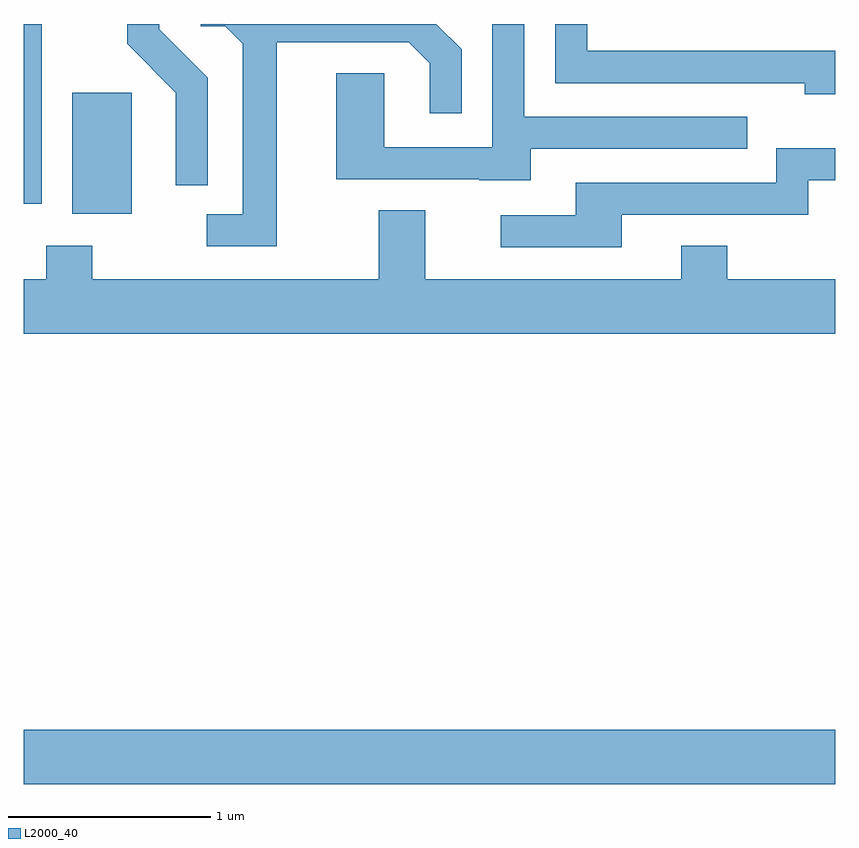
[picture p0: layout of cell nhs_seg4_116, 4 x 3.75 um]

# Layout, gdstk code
import gdstk
lib = gdstk.Library(unit=1e-6, precision=1e-09)
def R(c, l, rs):  # rectangles x0, y0, x1, y1
    for r in rs: c.add(gdstk.rectangle(r[:2], r[2:], *l))
def P(c, l, *ps):  # polygons
    for p in ps: c.add(gdstk.Polygon(p, *l))
L2000_40 = (2000, 40)

nhs_seg4_116 = lib.new_cell('nhs_seg4_116')
R(nhs_seg4_116, L2000_40, [(187.611,1350.236,191.611,1350.504), (187.851,1353.046,188.144,1353.644), (187.611,1353.096,187.699,1353.982)])
P(nhs_seg4_116, L2000_40, [(188.859,1353.891),(189.509,1353.891),(189.611,1353.789),(189.611,1353.543),(189.769,1353.543),(189.769,1353.857),(189.644,1353.982),(188.483,1353.982),(188.483,1353.971),(188.604,1353.971),(188.691,1353.884),(188.691,1353.044),(188.513,1353.044),(188.513,1352.886),(188.859,1352.886)],
  [(190.109,1353.366),(191.178,1353.366),(191.178,1353.524),(190.079,1353.524),(190.079,1353.982),(189.921,1353.982),(189.921,1353.374),(189.389,1353.374),(189.389,1353.739),(189.151,1353.739),(189.151,1353.216),(189.855,1353.216),(189.855,1353.211),(190.109,1353.211)],
  [(188.519,1353.717),(188.279,1353.957),(188.279,1353.982),(188.121,1353.982),(188.121,1353.884),(188.361,1353.644),(188.361,1353.188),(188.519,1353.188)],
  [(191.611,1353.849),(190.389,1353.849),(190.389,1353.982),(190.231,1353.982),(190.231,1353.691),(191.461,1353.691),(191.461,1353.636),(191.611,1353.636)],
  [(190.559,1353.041),(191.479,1353.041),(191.479,1353.211),(191.611,1353.211),(191.611,1353.369),(191.321,1353.369),(191.321,1353.199),(190.331,1353.199),(190.331,1353.039),(189.963,1353.039),(189.963,1352.881),(190.559,1352.881)],
  [(191.611,1352.724),(191.079,1352.724),(191.079,1352.889),(190.851,1352.889),(190.851,1352.724),(189.589,1352.724),(189.589,1353.064),(189.361,1353.064),(189.361,1352.724),(187.949,1352.724),(187.949,1352.889),(187.721,1352.889),(187.721,1352.724),(187.611,1352.724),(187.611,1352.456),(191.611,1352.456)])

lib.write_gds('nhs_seg4_116.gds')
